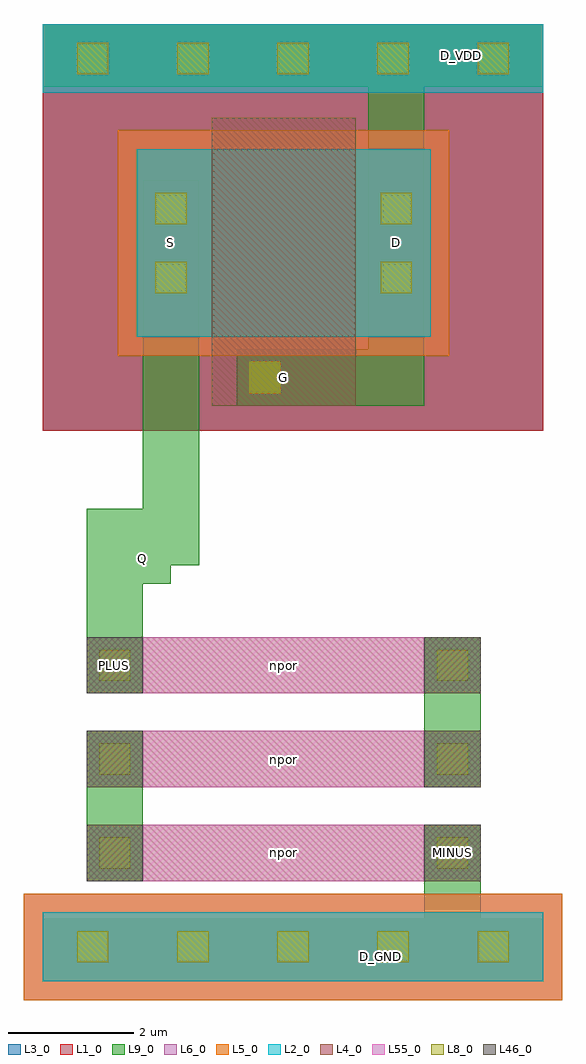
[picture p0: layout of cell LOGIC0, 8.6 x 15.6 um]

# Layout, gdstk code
import gdstk
lib = gdstk.Library(unit=1e-6, precision=1e-09)
def R(c, l, rs):  # rectangles x0, y0, x1, y1
    for r in rs: c.add(gdstk.rectangle(r[:2], r[2:], *l))
def A(c, l, x, y, w, h, nx, ny, dx, dy):  # array of equal rectangles
    R(c, l, [(x+i*dx, y+j*dy, x+i*dx+w, y+j*dy+h) for i in range(nx) for j in range(ny)])
def P(c, l, *ps):  # polygons
    for p in ps: c.add(gdstk.Polygon(p, *l))
L1_0 = (1, 0)
L2_0 = (2, 0)
L3_0 = (3, 0)
L4_0 = (4, 0)
L5_0 = (5, 0)
L6_0 = (6, 0)
L8_0 = (8, 0)
L9_0 = (9, 0)
L46_0 = (46, 0)
L55_0 = (55, 0)

logic0 = lib.new_cell('LOGIC0')
A(logic0, L1_0, 0, 8.8, 1.6, 6.5, 5, 1, 1.6, 0)
R(logic0, L1_0, [(0,8.8,7.7,14.8)])
A(logic0, L2_0, 0, 0, 1.6, 1.1, 5, 2, 1.6, 14.2)
R(logic0, L2_0, [(1.5,10.3,2.6,13.3), (2.6,10.3,5.1,13.3), (5.1,10.3,6.2,13.3)])
A(logic0, L3_0, 0, 8.8, 1.6, 6.5, 5, 1, 1.6, 0)
R(logic0, L3_0, [(0,8.8,7.7,14.8)])
A(logic0, L4_0, 1.6, 1.6, 4.5, 0.9, 1, 3, 0, 1.5)
R(logic0, L4_0, [(2.7,10.1,5,13.8), (2.7,13.3,5,13.8)])
A(logic0, L5_0, 1.6, -0.3, 1.6, 1.7, 3, 1, 1.6, 0)
R(logic0, L5_0, [(-0.3,-0.3,1.6,1.4), (6.4,-0.3,8.3,1.4), (1.2,10,6.5,13.6)])
A(logic0, L6_0, 1.6, -0.3, 1.6, 1.7, 3, 1, 1.6, 0)
R(logic0, L6_0, [(-0.3,-0.3,1.6,1.4), (6.4,-0.3,8.3,1.4), (1.2,10,6.5,13.6)])
A(logic0, L8_0, 0.55, 0.3, 0.5, 0.5, 5, 2, 1.6, 14.2)
A(logic0, L8_0, 0.9, 1.8, 0.5, 0.5, 1, 3, 0, 1.5)
A(logic0, L8_0, 6.3, 1.8, 0.5, 0.5, 1, 3, 0, 1.5)
R(logic0, L8_0, [(3.3,9.4,3.8,9.9), (1.8,11,2.3,11.5), (5.4,11,5.9,11.5), (1.8,12.1,2.3,12.6), (5.4,12.1,5.9,12.6)])
A(logic0, L9_0, 0, 0, 1.6, 1, 5, 2, 1.6, 14.3)
R(logic0, L9_0, [(0,0,7.7,1), (1.15,6.35,2.05,7.25), (1.6,10.8,2.5,12.8), (5.2,10.8,6.1,12.8), (5.2,12.8,6.1,14.3), (0,14.3,7.7,15.3)])
P(logic0, L9_0, [(6.1,0.1),(7.5,0.1),(7.5,1),(7,1),(7,2.5),(6.1,2.5)],
  [(3.7,9.2),(6.1,9.2),(6.1,11.7),(5.2,11.7),(5.2,10.1),(3.7,10.1)],
  [(0.7,4.6),(1.6,4.6),(1.6,6.65),(2.5,6.65),(2.5,11.7),(1.6,11.7),(1.6,7.55),(0.7,7.55)])
A(logic0, L46_0, 0.7, 1.6, 0.9, 0.9, 1, 3, 0, 1.5)
A(logic0, L46_0, 6.1, 1.6, 0.9, 0.9, 1, 3, 0, 1.5)
A(logic0, L55_0, 1.6, 1.6, 4.5, 0.9, 1, 3, 0, 1.5)
logic0.add(gdstk.FlexPath([(1.15,1.6),(1.15,2.5)], 0.9, ends="flush", simple_path=True, layer=4, datatype=0))  # L4_0
logic0.add(gdstk.FlexPath([(1.15,1.6),(1.15,2.5)], 0.9, ends="flush", simple_path=True, layer=9, datatype=0))  # L9_0
logic0.add(gdstk.FlexPath([(1.15,1.6),(1.15,2.5)], 0.9, ends="flush", simple_path=True, layer=9, datatype=0))  # L9_0
logic0.add(gdstk.FlexPath([(1.15,1.6),(1.15,2.5)], 0.9, ends="flush", simple_path=True, layer=9, datatype=0))  # L9_0
logic0.add(gdstk.FlexPath([(6.55,1.6),(6.55,2.5)], 0.9, ends="flush", simple_path=True, layer=4, datatype=0))  # L4_0
logic0.add(gdstk.FlexPath([(6.55,1.6),(6.55,2.5)], 0.9, ends="flush", simple_path=True, layer=9, datatype=0))  # L9_0
logic0.add(gdstk.FlexPath([(6.55,1.6),(6.55,2.5)], 0.9, ends="flush", simple_path=True, layer=9, datatype=0))  # L9_0
logic0.add(gdstk.FlexPath([(6.55,1.6),(6.55,2.5)], 0.9, ends="flush", simple_path=True, layer=9, datatype=0))  # L9_0
logic0.add(gdstk.FlexPath([(1.15,3.1),(1.15,4)], 0.9, ends="flush", simple_path=True, layer=4, datatype=0))  # L4_0
logic0.add(gdstk.FlexPath([(1.15,3.1),(1.15,4)], 0.9, ends="flush", simple_path=True, layer=9, datatype=0))  # L9_0
logic0.add(gdstk.FlexPath([(1.15,3.1),(1.15,4)], 0.9, ends="flush", simple_path=True, layer=9, datatype=0))  # L9_0
logic0.add(gdstk.FlexPath([(1.15,3.1),(1.15,4)], 0.9, ends="flush", simple_path=True, layer=9, datatype=0))  # L9_0
logic0.add(gdstk.FlexPath([(6.55,3.1),(6.55,4)], 0.9, ends="flush", simple_path=True, layer=4, datatype=0))  # L4_0
logic0.add(gdstk.FlexPath([(6.55,3.1),(6.55,4)], 0.9, ends="flush", simple_path=True, layer=9, datatype=0))  # L9_0
logic0.add(gdstk.FlexPath([(6.55,3.1),(6.55,4)], 0.9, ends="flush", simple_path=True, layer=9, datatype=0))  # L9_0
logic0.add(gdstk.FlexPath([(6.55,3.1),(6.55,4)], 0.9, ends="flush", simple_path=True, layer=9, datatype=0))  # L9_0
logic0.add(gdstk.FlexPath([(1.15,4.6),(1.15,5.5)], 0.9, ends="flush", simple_path=True, layer=4, datatype=0))  # L4_0
logic0.add(gdstk.FlexPath([(1.15,4.6),(1.15,5.5)], 0.9, ends="flush", simple_path=True, layer=9, datatype=0))  # L9_0
logic0.add(gdstk.FlexPath([(1.15,4.6),(1.15,5.5)], 0.9, ends="flush", simple_path=True, layer=9, datatype=0))  # L9_0
logic0.add(gdstk.FlexPath([(1.15,4.6),(1.15,5.5)], 0.9, ends="flush", simple_path=True, layer=9, datatype=0))  # L9_0
logic0.add(gdstk.FlexPath([(6.55,4.6),(6.55,5.5)], 0.9, ends="flush", simple_path=True, layer=4, datatype=0))  # L4_0
logic0.add(gdstk.FlexPath([(6.55,4.6),(6.55,5.5)], 0.9, ends="flush", simple_path=True, layer=9, datatype=0))  # L9_0
logic0.add(gdstk.FlexPath([(6.55,4.6),(6.55,5.5)], 0.9, ends="flush", simple_path=True, layer=9, datatype=0))  # L9_0
logic0.add(gdstk.FlexPath([(6.55,4.6),(6.55,5.5)], 0.9, ends="flush", simple_path=True, layer=9, datatype=0))  # L9_0
logic0.add(gdstk.FlexPath([(6.55,5.5),(6.55,3.1)], 0.9, ends="flush", simple_path=True, layer=9, datatype=0))  # L9_0
logic0.add(gdstk.FlexPath([(1.15,4),(1.15,1.6)], 0.9, ends="flush", simple_path=True, layer=9, datatype=0))  # L9_0
logic0.add(gdstk.FlexPath([(6.55,1.6),(6.55,2.5)], 0.9, ends="flush", simple_path=True, layer=9, datatype=0))  # L9_0
logic0.add(gdstk.FlexPath([(1.15,4.6),(1.15,5.5)], 0.9, ends="flush", simple_path=True, layer=9, datatype=0))  # L9_0
logic0.add(gdstk.FlexPath([(2.7,9.65),(5,9.65)], 0.9, ends="flush", simple_path=True, layer=4, datatype=0))  # L4_0
logic0.add(gdstk.FlexPath([(3.1,9.65),(4.6,9.65)], 0.9, ends="flush", simple_path=True, layer=9, datatype=0))  # L9_0
logic0.add(gdstk.Label('npor', (3.85,2.05), layer=55, texttype=0))
logic0.add(gdstk.Label('npor', (3.85,3.55), layer=55, texttype=0))
logic0.add(gdstk.Label('npor', (3.85,5.05), layer=55, texttype=0))
logic0.add(gdstk.Label('MINUS', (6.549,2.05), layer=9, texttype=0))
logic0.add(gdstk.Label('PLUS', (1.149,5.05), layer=9, texttype=0))
logic0.add(gdstk.Label('G', (3.85,9.652), layer=9, texttype=0))
logic0.add(gdstk.Label('S', (2.049,11.801), layer=9, texttype=0))
logic0.add(gdstk.Label('D', (5.649,11.801), layer=9, texttype=0))
logic0.add(gdstk.Label('D_VDD', (6.7,14.8), layer=50, texttype=0))
logic0.add(gdstk.Label('D_GND', (5.4,0.4), layer=50, texttype=0))
logic0.add(gdstk.Label('Q', (1.6,6.75), layer=50, texttype=0))

lib.write_gds('LOGIC0.gds')
